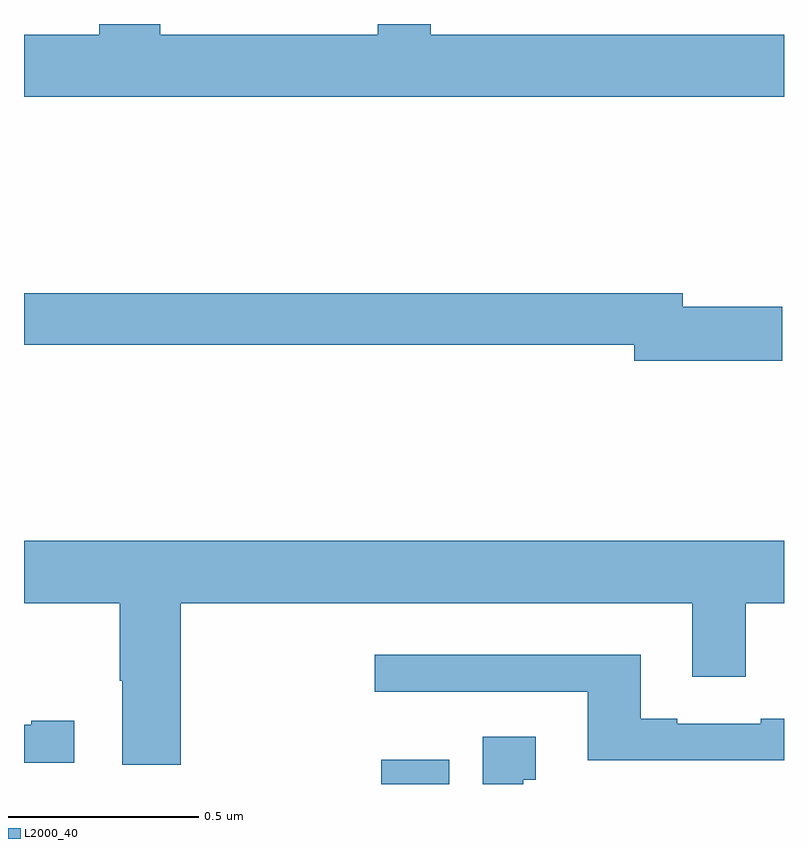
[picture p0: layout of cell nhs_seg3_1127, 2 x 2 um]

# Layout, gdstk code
import gdstk
lib = gdstk.Library(unit=1e-6, precision=1e-09)
def R(c, l, rs):  # rectangles x0, y0, x1, y1
    for r in rs: c.add(gdstk.rectangle(r[:2], r[2:], *l))
def P(c, l, *ps):  # polygons
    for p in ps: c.add(gdstk.Polygon(p, *l))
L2000_40 = (2000, 40)

nhs_seg3_1127 = lib.new_cell('nhs_seg3_1127')
R(nhs_seg3_1127, L2000_40, [(124.94,740.4,125.119,740.464)])
P(nhs_seg3_1127, L2000_40, [(126,742.372),(125.071,742.372),(125.071,742.4),(124.931,742.4),(124.931,742.372),(124.358,742.372),(124.358,742.4),(124.198,742.4),(124.198,742.372),(124,742.372),(124,742.208),(126,742.208)],
  [(125.995,741.656),(125.734,741.656),(125.734,741.692),(124,741.692),(124,741.556),(125.606,741.556),(125.606,741.514),(125.995,741.514)],
  [(124.412,740.876),(125.759,740.876),(125.759,740.682),(125.899,740.682),(125.899,740.876),(126,740.876),(126,741.04),(124,741.04),(124,740.876),(124.252,740.876),(124.252,740.672),(124.259,740.672),(124.259,740.451),(124.412,740.451)],
  [(126,740.572),(125.939,740.572),(125.939,740.559),(125.719,740.559),(125.719,740.572),(125.623,740.572),(125.623,740.74),(124.923,740.74),(124.923,740.643),(125.483,740.643),(125.483,740.462),(126,740.462)],
  [(124.132,740.566),(124.019,740.566),(124.019,740.556),(124,740.556),(124,740.456),(124.132,740.456)],
  [(125.314,740.411),(125.347,740.411),(125.347,740.524),(125.207,740.524),(125.207,740.4),(125.314,740.4)])

lib.write_gds('nhs_seg3_1127.gds')
